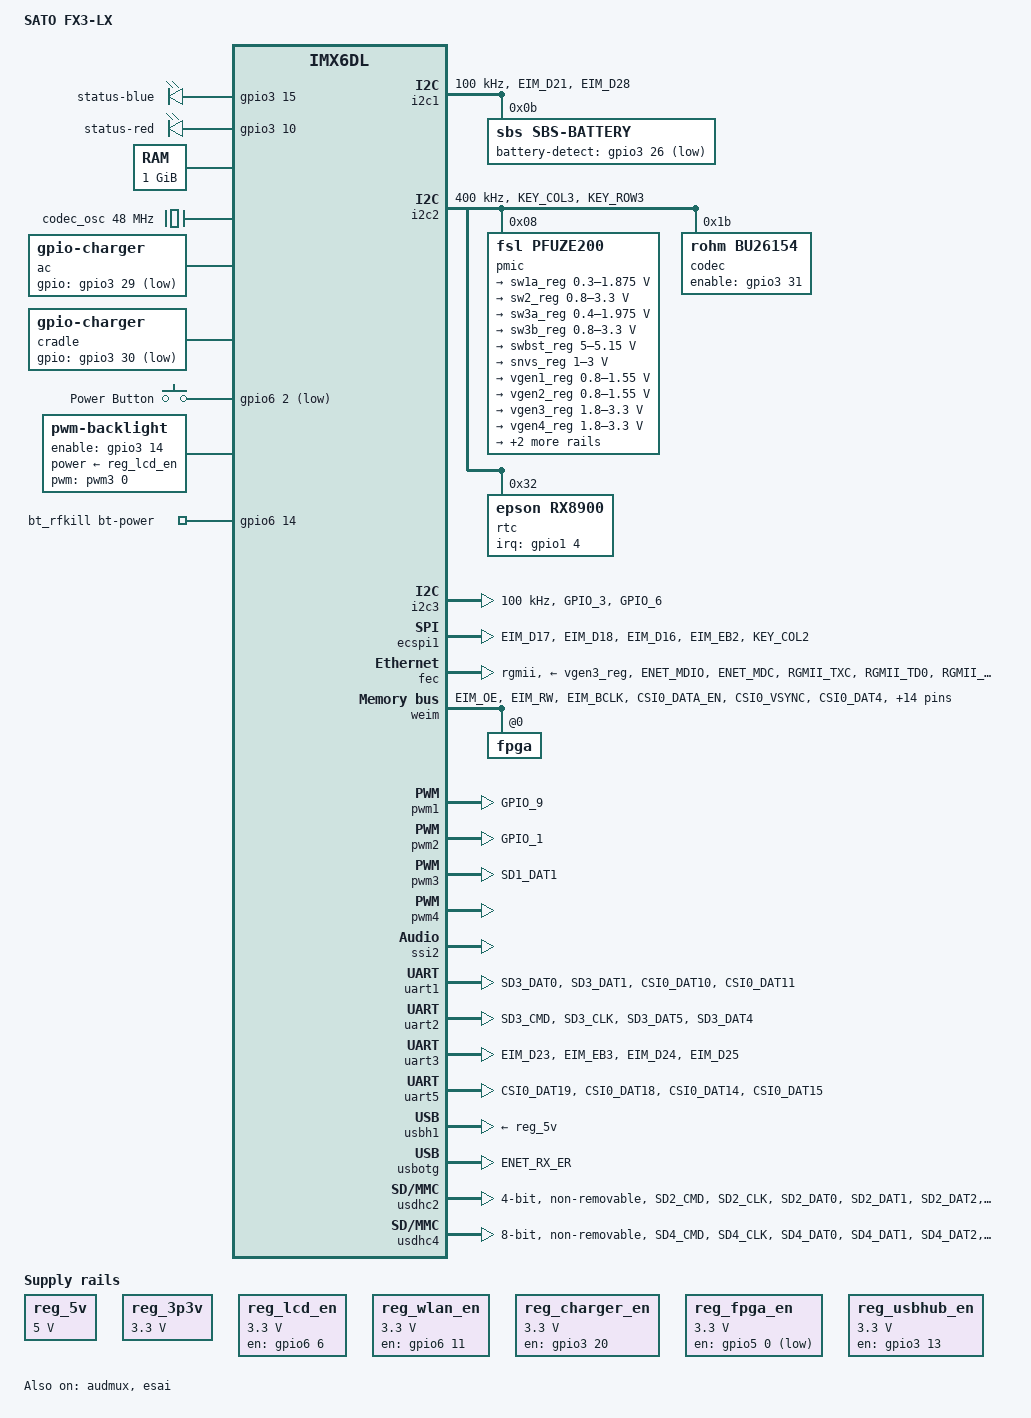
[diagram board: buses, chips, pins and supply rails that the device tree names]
/*
 * Copyright (C) 2013-2015 Freescale Semiconductor, Inc.
 * Copyright (C) 2018 SATO Corporation.
 *
 * This program is free software; you can redistribute it and/or modify
 * it under the terms of the GNU General Public License version 2 as
 * published by the Free Software Foundation.
 */

/dts-v1/;

#include <dt-bindings/gpio/gpio.h>
#include <dt-bindings/input/input.h>

#include "imx6dl.dtsi"

/ {
	model = "SATO FX3-LX";
	compatible = "sato,imx6dl-fx3lx", "fsl,imx6dl";

	aliases {
		mxcfb0 = &mxcfb1;
	};

	chosen {
		stdout-path = &uart1;
	};

	leds {
		compatible = "gpio-leds";
		pinctrl-names = "default";
		pinctrl-0 = <&pinctrl_leds>;

		status-blue {
			gpios = <&gpio3 15 GPIO_ACTIVE_HIGH>;
			default-state = "off";
		};

		status-red {
			gpios = <&gpio3 10 GPIO_ACTIVE_HIGH>;
			default-state = "off";
		};
	};

	memory: memory {
		reg = <0x10000000 0x40000000>;
	};

	clocks {
		codec_osc: fcx05-48m {
			compatible = "fixed-clock";
			#clock-cells = <0>;
			clock-frequency = <48000000>;
			clock-accuracy = <50000>;
		};
	};

	regulators {
		compatible = "simple-bus";
		#address-cells = <1>;
		#size-cells = <0>;

		reg_5v: fixedregulator@0 {
			compatible = "regulator-fixed";
			regulator-name = "fixed-5V";
			regulator-min-microvolt = <5000000>;
			regulator-max-microvolt = <5000000>;
			regulator-boot-on;
		};

		reg_3p3v: fixedregulator@1 {
			compatible = "regulator-fixed";
			regulator-name = "fixed-3.3V";
			regulator-min-microvolt = <3300000>;
			regulator-max-microvolt = <3300000>;
			regulator-boot-on;
			regulator-always-on;
		};

		reg_lcd_en: fixedregulator@2 {
			compatible = "regulator-fixed";
			regulator-name = "lcd-en-regulator";
			regulator-min-microvolt = <3300000>;
			regulator-max-microvolt = <3300000>;
			regulator-boot-on;
			regulator-always-on;
			pinctrl-names = "default";
			pinctrl-0 = <&pinctrl_lcd>;
			gpio = <&gpio6 6 GPIO_ACTIVE_HIGH>;
			enable-active-high;
		};

		reg_wlan_en: fixedregulator@3 {
			compatible = "regulator-fixed";
			regulator-name = "wlan-en-regulator";
			regulator-min-microvolt = <3300000>;
			regulator-max-microvolt = <3300000>;
			pinctrl-names = "default";
			pinctrl-0 = <&pinctrl_wlan>;
			gpio = <&gpio6 11 GPIO_ACTIVE_HIGH>;
			startup-delay-us = <70000>;
			enable-active-high;
		};

		reg_charger_en: fixedregulator@4 {
			compatible = "regulator-fixed";
			regulator-name = "charger-en-regulator";
			regulator-min-microvolt = <3300000>;
			regulator-max-microvolt = <3300000>;
			pinctrl-names = "default";
			pinctrl-0 = <&pinctrl_reg_charger>;
			gpio = <&gpio3 20 GPIO_ACTIVE_HIGH>;
			enable-active-high;
		};

		reg_fpga_en: fixedregulator@5 {
			compatible = "regulator-fixed";
			regulator-name = "fpga-en-regulator";
			regulator-min-microvolt = <3300000>;
			regulator-max-microvolt = <3300000>;
			regulator-boot-on;
			regulator-always-on;
			pinctrl-names = "default";
			pinctrl-0 = <&pinctrl_reg_fpga>;
			gpio = <&gpio5 0 GPIO_ACTIVE_LOW>;
		};

		reg_usbhub_en: fixedregulator@6 {
			compatible = "regulator-fixed";
			regulator-name = "usbhub-en-regulator";
			regulator-min-microvolt = <3300000>;
			regulator-max-microvolt = <3300000>;
			regulator-boot-on;
			regulator-always-on;
			pinctrl-names = "default";
			pinctrl-0 = <&pinctrl_reg_usbhub>;
			gpio = <&gpio3 13 GPIO_ACTIVE_HIGH>;
			startup-delay-us = <3000>;
			enable-active-high;
		};
	};

	ac: ac_charger {
		compatible = "gpio-charger";
		pinctrl-names = "default";
		pinctrl-0 = <&pinctrl_ac>;
		charger-type = "mains";
		gpios = <&gpio3 29 GPIO_ACTIVE_LOW>;
	};

	cradle: cradle_charger {
		compatible = "gpio-charger";
		pinctrl-names = "default";
		pinctrl-0 = <&pinctrl_cradle>;
		charger-type = "mains";
		gpios = <&gpio3 30 GPIO_ACTIVE_LOW>;
	};

	gpio-keys {
		compatible = "gpio-keys";
		pinctrl-names = "default";
		pinctrl-0 = <&pinctrl_gpio_keys>;

		power {
			label = "Power Button";
			gpios = <&gpio6 2 GPIO_ACTIVE_LOW>;
			wakeup-source;
			linux,code = <KEY_POWER>;
		};
	};

	sound {
		compatible = "fsl,imx-audio-bu26154";
		model = "bu26154-audio";
		audio-codec = <&codec>;
		ssi-controller = <&ssi2>;
		audio-routing =
			"Ext Spk", "SPKOUTL",
			"Ext Spk", "SPKOUTR";
		mux-int-port = <2>;
		mux-ext-port = <5>;
		codec-master;
	};

	mxcfb1: fb@0 {
		compatible = "fsl,mxc_sdc_fb";
		disp_dev = "lcd";
		interface_pix_fmt = "RGB24";
		mode_str ="SVF07-WVGA";
		default_bpp = <32>;
		int_clk = <0>;
		late_init = <0>;
		bypass_reset = <1>;
		status = "okay";
	};

	lcd@0 {
		compatible = "fsl,lcd";
		ipu_id = <0>;
		disp_id = <0>;
		default_ifmt = "RGB24";
		pinctrl-names = "default";
		pinctrl-0 = <&pinctrl_ipu1>;
		status = "okay";
	};

	backlight {
		compatible = "pwm-backlight";
		pinctrl-names = "default";
		pinctrl-0 = <&pinctrl_backlight>;
		pwms = <&pwm3 0 50000>;
		brightness-levels = <
			255 218 217 216 215 214 213 212 211 210
			209 208 207 206 205 204 203 202 201 200
			199 198 197 196 195 194 193 192 191 190
			189 188 187 186 185 184 183 182 181 180
			179 178 177 176 175 174 173 172 171 170
			169 168 167 166 165 164 163 162 161 160
			159 158 157 156 155 154 153 152 151 150
			149 148 147 146 145 144 143 142 141 140
			139 138 137 136 135 134 133 132 131 130
			129 128 127 126 125 124 123 122	121 120
			119 118 117 116 115 114 113 112 111 110
			109 108 107 106 105 104 103 102 101 100
			 99  98  97  96  95  94  93  92  91  90
			 89  88  87  86  85  84  83  82  81  80
			 79  78  77  76  75  74  73  72  71  70
			 69  68  65  66  65  64  63  62	 61  60
			 59  58  57  56  55  54  53  52  51  50
			 49  48  47  46  45  44  43  42  41  40
			 39  38  37  36  35  34  33  32  31  30
			 29  28  27  26	 25  24  23  22  21  20
			 19  18  17  16  15  14  13  12	 11  10
			  9   8   7   6   5   4   3   2   1   0
			>;
		default-brightness-level = <219>;
		enable-gpios = <&gpio3 14 0>;
		power-supply = <&reg_lcd_en>;
		status = "okay";
	};

	bt_rfkill {
		compatible = "fsl,mxc_bt_rfkill";
		pinctrl-names = "default";
		pinctrl-0 = <&pinctrl_bt>;
		bt-power-gpios = <&gpio6 14 0>;
		status ="okay";
	};
};

&i2c1 {
	pinctrl-names = "default";
	pinctrl-0 = <&pinctrl_i2c1>;
	status = "okay";
	clock-frequency = <100000>;

	sbs-battery@b {
		compatible = "sbs,sbs-battery";
		pinctrl-names = "default";
		pinctrl-0 = <&pinctrl_battery>;
		reg = <0xb>;
		sbs,i2c-retry-count = <2>;
		sbs,poll-retry-count = <10>;
		sbs,battery-detect-gpios = <&gpio3 26 GPIO_ACTIVE_LOW>;
		power-supplies = <&ac &cradle>;
	};
};

&i2c2 {
	pinctrl-names = "default";
	pinctrl-0 = <&pinctrl_i2c2>;
	status = "okay";
	clock-frequency = <400000>;

	pmic: pfuze100@08 {
		compatible = "fsl,pfuze200";
		reg = <0x08>;

		regulators {
			sw1a_reg: sw1ab {
				regulator-min-microvolt = <300000>;
				regulator-max-microvolt = <1875000>;
				regulator-always-on;
				regulator-ramp-delay = <6250>;
			};

			sw2_reg: sw2 {
				regulator-min-microvolt = <800000>;
				regulator-max-microvolt = <3300000>;
				regulator-always-on;
			};

			sw3a_reg: sw3a {
				regulator-min-microvolt = <400000>;
				regulator-max-microvolt = <1975000>;
				regulator-always-on;
			};

			sw3b_reg: sw3b {
				regulator-min-microvolt = <800000>;
				regulator-max-microvolt = <3300000>;
				regulator-always-on;
			};

			swbst_reg: swbst {
				regulator-min-microvolt = <5000000>;
				regulator-max-microvolt = <5150000>;
			};

			snvs_reg: vsnvs {
				regulator-min-microvolt = <1000000>;
				regulator-max-microvolt = <3000000>;
				regulator-always-on;
			};

			vref_reg: vrefddr {
				regulator-always-on;
			};

			vgen1_reg: vgen1 {
				regulator-min-microvolt = <800000>;
				regulator-max-microvolt = <1550000>;
			};

			vgen2_reg: vgen2 {
				regulator-min-microvolt = <800000>;
				regulator-max-microvolt = <1550000>;
			};

			vgen3_reg: vgen3 {
				regulator-min-microvolt = <1800000>;
				regulator-max-microvolt = <3300000>;
			};

			vgen4_reg: vgen4 {
				regulator-min-microvolt = <1800000>;
				regulator-max-microvolt = <3300000>;
				regulator-always-on;
			};

			vgen5_reg: vgen5 {
				regulator-min-microvolt = <1800000>;
				regulator-max-microvolt = <3300000>;
				regulator-always-on;
			};

			vgen6_reg: vgen6 {
				regulator-min-microvolt = <1800000>;
				regulator-max-microvolt = <3300000>;
				regulator-always-on;
			};
		};
	};

	codec: bu26154@1b {
		compatible = "rohm,bu26154";
		reg = <0x1b>;

		pinctrl-names = "default";
		pinctrl-0 = <&pinctrl_codec>;
		clocks = <&codec_osc 0>;
		enable-gpio = <&gpio3 31 0>;

		touchscreen {
			compatible = "rohm,bu26154-ts";
			pinctrl-names = "default";
			pinctrl-0 = <&pinctrl_ts>;
			rohm,pressure-min = <80>;
			rohm,pressure-max = <750>;
			rohm,event-period-time = <10>;
			rohm,absfuzz = <32>;
			rohm,penup-timeout = <500>;
			rohm,flip-x;
			touch-gpio = <&gpio1 0 0>;
			tvdd-supply = <&reg_3p3v>;
		};

		audiocodec {
			compatible = "rohm,bu26154-audio";
		};
	};

	rtc: rtc@32 {
		compatible = "epson,rx8900";
		reg = <0x32>;
		pinctrl-names = "default";
		pinctrl-0 = <&pinctrl_rtc>;
		interrupt-parent = <&gpio1>;
		interrupts = <4 IRQ_TYPE_LEVEL_LOW>;
	};
};

&i2c3 {
	clock-frequency = <100000>;
	pinctrl-names = "default";
	pinctrl-0 = <&pinctrl_i2c3>;
	status = "okay";
};

&audmux {
	pinctrl-names = "default";
	pinctrl-0 = <&pinctrl_audmux>;
	status = "okay";
};

&ecspi1 {
	pinctrl-names = "default";
	pinctrl-0 = <&pinctrl_ecspi1>;
	status = "okay";
	fsl,spi-num-chipselects = <2>;
};

&fec {
	pinctrl-names = "default";
	pinctrl-0 = <&pinctrl_enet>;
	phy-mode = "rgmii";
	phy-reset-gpios = <&gpio1 26 0>;
	phy-supply = <&vgen3_reg>;
	fsl,magic-packet;
	status = "okay";
};

&gpc {
	fsl,ldo-bypass = <1>;
};

&iomuxc {
	pinctrl-names = "default";
	pinctrl-0 = <&pinctrl_hog>;

	imx6dl-fx3lx {
		pinctrl_hog: hoggrp {
			fsl,pins = <
				MX6QDL_PAD_GPIO_8__GPIO1_IO08		0x1b0b0
				MX6QDL_PAD_SD1_CMD__GPIO1_IO18		0x1b0b0
				MX6QDL_PAD_SD1_DAT2__GPIO1_IO19		0x1b0b0
				MX6QDL_PAD_SD1_CLK__GPIO1_IO20		0x1b0b0
				MX6QDL_PAD_SD1_DAT3__GPIO1_IO21		0x1b0b0
				MX6QDL_PAD_ENET_RXD0__GPIO1_IO27	0x80000000
				MX6QDL_PAD_ENET_TX_EN__GPIO1_IO28	0x1b0b0
				MX6QDL_PAD_ENET_TXD1__GPIO1_IO29	0x80000000
				MX6QDL_PAD_NANDF_D0__GPIO2_IO00		0x1b0b0
				MX6QDL_PAD_NANDF_D1__GPIO2_IO01		0x80000000
				MX6QDL_PAD_NANDF_D2__GPIO2_IO02		0x80000000
				MX6QDL_PAD_NANDF_D3__GPIO2_IO03		0x1b0b0
				MX6QDL_PAD_NANDF_D4__GPIO2_IO04		0x1b0b0
				MX6QDL_PAD_NANDF_D5__GPIO2_IO05		0x80000000
				MX6QDL_PAD_NANDF_D6__GPIO2_IO06		0x1b0b0
				MX6QDL_PAD_NANDF_D7__GPIO2_IO07		0x1b0b0
				MX6QDL_PAD_EIM_A22__GPIO2_IO16		0x80000000
				MX6QDL_PAD_EIM_A21__GPIO2_IO17		0x80000000
				MX6QDL_PAD_EIM_A20__GPIO2_IO18		0x80000000
				MX6QDL_PAD_EIM_A19__GPIO2_IO19		0x80000000
				MX6QDL_PAD_EIM_A18__GPIO2_IO20		0x80000000
				MX6QDL_PAD_EIM_A17__GPIO2_IO21		0x80000000
				MX6QDL_PAD_EIM_A16__GPIO2_IO22		0x80000000
				MX6QDL_PAD_EIM_LBA__GPIO2_IO27		0x1b0b0
				MX6QDL_PAD_EIM_EB0__GPIO2_IO28		0x80000000
				MX6QDL_PAD_EIM_EB1__GPIO2_IO29		0x80000000
				MX6QDL_PAD_EIM_DA8__GPIO3_IO08		0x80000000
				MX6QDL_PAD_EIM_DA9__GPIO3_IO09		0x80000000
				MX6QDL_PAD_EIM_DA11__GPIO3_IO11		0x80000000
				MX6QDL_PAD_EIM_DA12__GPIO3_IO12		0x80000000
				MX6QDL_PAD_EIM_D22__GPIO3_IO22		0x80000000
				MX6QDL_PAD_EIM_D27__GPIO3_IO27		0x1b0b0
				MX6QDL_PAD_GPIO_19__GPIO4_IO05		0x1b0b0
				MX6QDL_PAD_KEY_ROW2__GPIO4_IO11		0x1b0b0
				MX6QDL_PAD_KEY_COL4__GPIO4_IO14		0x1b0b0
				MX6QDL_PAD_KEY_ROW4__GPIO4_IO15		0x80000000
				MX6QDL_PAD_DI0_PIN15__GPIO4_IO17	0x1b0b0
				MX6QDL_PAD_DI0_PIN4__GPIO4_IO20		0x1b0b0
				MX6QDL_PAD_EIM_A25__GPIO5_IO02		0x1b0b0
				MX6QDL_PAD_EIM_A24__GPIO5_IO04		0x80000000
				MX6QDL_PAD_CSI0_PIXCLK__GPIO5_IO18	0x80000000
				MX6QDL_PAD_CSI0_MCLK__GPIO5_IO19	0x1b0b0
				MX6QDL_PAD_CSI0_DAT12__GPIO5_IO30	0x80000000
				MX6QDL_PAD_CSI0_DAT13__GPIO5_IO31	0x80000000
				MX6QDL_PAD_CSI0_DAT17__GPIO6_IO03	0x1b0b0
				MX6QDL_PAD_NANDF_CLE__GPIO6_IO07	0x80000000
				MX6QDL_PAD_NANDF_ALE__GPIO6_IO08	0x1b0b0
				MX6QDL_PAD_NANDF_WP_B__GPIO6_IO09	0x1b0b0
				MX6QDL_PAD_NANDF_RB0__GPIO6_IO10	0x1b0b0
				MX6QDL_PAD_NANDF_CS2__GPIO6_IO15	0x1b0b0
				MX6QDL_PAD_SD3_DAT7__GPIO6_IO17		0x80000000
				MX6QDL_PAD_SD3_DAT6__GPIO6_IO18		0x1b0b0
				MX6QDL_PAD_SD3_DAT2__GPIO7_IO06		0x1b0b0
				MX6QDL_PAD_SD3_DAT3__GPIO7_IO07		0x1b0b0
				MX6QDL_PAD_SD3_RST__GPIO7_IO08		0x1b0b0
				MX6QDL_PAD_GPIO_18__GPIO7_IO13		0x1b0b0
			>;
		};

		pinctrl_ipu1: ipu1grp {
			fsl,pins = <
				MX6QDL_PAD_DI0_DISP_CLK__IPU1_DI0_DISP_CLK	0x10
				MX6QDL_PAD_DI0_PIN2__IPU1_DI0_PIN02		0x80000000
				MX6QDL_PAD_DI0_PIN3__IPU1_DI0_PIN03		0x80000000
				MX6QDL_PAD_DISP0_DAT0__IPU1_DISP0_DATA00	0x10
				MX6QDL_PAD_DISP0_DAT1__IPU1_DISP0_DATA01	0x10
				MX6QDL_PAD_DISP0_DAT2__IPU1_DISP0_DATA02	0x10
				MX6QDL_PAD_DISP0_DAT3__IPU1_DISP0_DATA03	0x10
				MX6QDL_PAD_DISP0_DAT4__IPU1_DISP0_DATA04	0x10
				MX6QDL_PAD_DISP0_DAT5__IPU1_DISP0_DATA05	0x10
				MX6QDL_PAD_DISP0_DAT6__IPU1_DISP0_DATA06	0x10
				MX6QDL_PAD_DISP0_DAT7__IPU1_DISP0_DATA07	0x10
				MX6QDL_PAD_DISP0_DAT8__IPU1_DISP0_DATA08	0x10
				MX6QDL_PAD_DISP0_DAT9__IPU1_DISP0_DATA09	0x10
				MX6QDL_PAD_DISP0_DAT10__IPU1_DISP0_DATA10	0x10
				MX6QDL_PAD_DISP0_DAT11__IPU1_DISP0_DATA11	0x10
				MX6QDL_PAD_DISP0_DAT12__IPU1_DISP0_DATA12	0x10
				MX6QDL_PAD_DISP0_DAT13__IPU1_DISP0_DATA13	0x10
				MX6QDL_PAD_DISP0_DAT14__IPU1_DISP0_DATA14	0x10
				MX6QDL_PAD_DISP0_DAT15__IPU1_DISP0_DATA15	0x10
				MX6QDL_PAD_DISP0_DAT16__IPU1_DISP0_DATA16	0x10
				MX6QDL_PAD_DISP0_DAT17__IPU1_DISP0_DATA17	0x10
				MX6QDL_PAD_DISP0_DAT18__IPU1_DISP0_DATA18	0x10
				MX6QDL_PAD_DISP0_DAT19__IPU1_DISP0_DATA19	0x10
				MX6QDL_PAD_DISP0_DAT20__IPU1_DISP0_DATA20	0x10
				MX6QDL_PAD_DISP0_DAT21__IPU1_DISP0_DATA21	0x10
				MX6QDL_PAD_DISP0_DAT22__IPU1_DISP0_DATA22	0x10
				MX6QDL_PAD_DISP0_DAT23__IPU1_DISP0_DATA23	0x10
			>;
		};

		pinctrl_enet: enetgrp {
			fsl,pins = <
				MX6QDL_PAD_ENET_MDIO__ENET_MDIO		0x1b0b0
				MX6QDL_PAD_ENET_MDC__ENET_MDC		0x1b0b0
				MX6QDL_PAD_RGMII_TXC__RGMII_TXC		0x1b0b0
				MX6QDL_PAD_RGMII_TD0__RGMII_TD0		0x1b0b0
				MX6QDL_PAD_RGMII_TD1__RGMII_TD1		0x1b0b0
				MX6QDL_PAD_RGMII_TD2__RGMII_TD2		0x1b0b0
				MX6QDL_PAD_RGMII_TD3__RGMII_TD3		0x1b0b0
				MX6QDL_PAD_RGMII_TX_CTL__RGMII_TX_CTL	0x1b0b0
				MX6QDL_PAD_ENET_REF_CLK__ENET_TX_CLK	0x1b0b0
				MX6QDL_PAD_RGMII_RXC__RGMII_RXC		0x1b0b0
				MX6QDL_PAD_RGMII_RD0__RGMII_RD0		0x1b0b0
				MX6QDL_PAD_RGMII_RD1__RGMII_RD1		0x1b0b0
				MX6QDL_PAD_RGMII_RD2__RGMII_RD2		0x1b0b0
				MX6QDL_PAD_RGMII_RD3__RGMII_RD3		0x1b0b0
				MX6QDL_PAD_RGMII_RX_CTL__RGMII_RX_CTL	0x1b0b0
				MX6QDL_PAD_ENET_RXD1__GPIO1_IO26	0x80000000
			>;
		};

		pinctrl_usbotg: usbotggrp {
			fsl,pins = <
				MX6QDL_PAD_ENET_RX_ER__USB_OTG_ID	0x17059
			>;
		};

		pinctrl_weim_cs0: weimcs0grp {
			fsl,pins = <
				MX6QDL_PAD_EIM_CS0__EIM_CS0_B		0x80000000
			>;
		};

		pinctrl_weim_fpga: weimfpgagrp {
			fsl,pins = <
				MX6QDL_PAD_EIM_OE__EIM_OE_B		0x130b1
				MX6QDL_PAD_EIM_RW__EIM_RW		0x130b1
				MX6QDL_PAD_EIM_BCLK__EIM_BCLK		0x130b1
				MX6QDL_PAD_CSI0_DATA_EN__EIM_DATA00	0x130b1
				MX6QDL_PAD_CSI0_VSYNC__EIM_DATA01	0x130b1
				MX6QDL_PAD_CSI0_DAT4__EIM_DATA02	0x130b1
				MX6QDL_PAD_CSI0_DAT5__EIM_DATA03	0x130b1
				MX6QDL_PAD_CSI0_DAT6__EIM_DATA04	0x130b1
				MX6QDL_PAD_CSI0_DAT7__EIM_DATA05	0x130b1
				MX6QDL_PAD_CSI0_DAT8__EIM_DATA06	0x130b1
				MX6QDL_PAD_CSI0_DAT9__EIM_DATA07	0x130b1
				MX6QDL_PAD_EIM_DA0__EIM_AD00		0x130b1
				MX6QDL_PAD_EIM_DA1__EIM_AD01		0x130b1
				MX6QDL_PAD_EIM_DA2__EIM_AD02		0x130b1
				MX6QDL_PAD_EIM_DA3__EIM_AD03		0x130b1
				MX6QDL_PAD_EIM_DA4__EIM_AD04		0x130b1
				MX6QDL_PAD_EIM_DA5__EIM_AD05		0x130b1
				MX6QDL_PAD_EIM_DA6__EIM_AD06		0x130b1
				MX6QDL_PAD_EIM_DA7__EIM_AD07		0x130b1
			>;
		};

		pinctrl_reg_fpga: regfpgagrp {
			fsl,pins = <
				MX6QDL_PAD_EIM_WAIT__GPIO5_IO00		0x80000000
			>;
		};

		pinctrl_fpga: fpgagrp {
			fsl,pins = <
				MX6QDL_PAD_GPIO_7__GPIO1_IO07		0x1b0b0
			>;
		};

		pinctrl_audmux: audmuxgrp {
			fsl,pins = <
				MX6QDL_PAD_KEY_ROW1__AUD5_RXD		0x130b0
				MX6QDL_PAD_KEY_COL0__AUD5_TXC		0x130b0
				MX6QDL_PAD_KEY_ROW0__AUD5_TXD		0x110b0
				MX6QDL_PAD_KEY_COL1__AUD5_TXFS		0x130b0
			>;
		};

		pinctrl_pwm1: pwm1grp {
			fsl,pins = <
				MX6QDL_PAD_GPIO_9__PWM1_OUT		0x1b0b1
			>;
		};

		pinctrl_pwm2: pwm2grp {
			fsl,pins = <
				MX6QDL_PAD_GPIO_1__PWM2_OUT		0x1b0b1
			>;
		};

		pinctrl_pwm3: pwm3grp {
			fsl,pins = <
				MX6QDL_PAD_SD1_DAT1__PWM3_OUT		0x1b0b1
			>;
		};

		pinctrl_uart1: uart1grp {
			fsl,pins = <
				MX6QDL_PAD_SD3_DAT0__UART1_CTS_B	0x1b0b1
				MX6QDL_PAD_SD3_DAT1__UART1_RTS_B	0x1b0b1
				MX6QDL_PAD_CSI0_DAT10__UART1_TX_DATA	0x1b0b1
				MX6QDL_PAD_CSI0_DAT11__UART1_RX_DATA	0x1b0b1
			>;
		};

		pinctrl_uart2: uart2grp {
			fsl,pins = <
				MX6QDL_PAD_SD3_CMD__UART2_CTS_B		0x1b0b1
				MX6QDL_PAD_SD3_CLK__UART2_RTS_B		0x1b0b1
				MX6QDL_PAD_SD3_DAT5__UART2_TX_DATA	0x1b0b1
				MX6QDL_PAD_SD3_DAT4__UART2_RX_DATA	0x1b0b1
			>;
		};

		pinctrl_uart3: uart3grp {
			fsl,pins = <
				MX6QDL_PAD_EIM_D23__UART3_CTS_B		0x1b0b1
				MX6QDL_PAD_EIM_EB3__UART3_RTS_B		0x1b0b1
				MX6QDL_PAD_EIM_D24__UART3_TX_DATA	0x1b0b1
				MX6QDL_PAD_EIM_D25__UART3_RX_DATA	0x1b0b1
			>;
		};

		pinctrl_uart5: uart5grp {
			fsl,pins = <
				MX6QDL_PAD_CSI0_DAT19__UART5_CTS_B	0x1b0b1
				MX6QDL_PAD_CSI0_DAT18__UART5_RTS_B	0x1b0b1
				MX6QDL_PAD_CSI0_DAT14__UART5_TX_DATA	0x1b0b1
				MX6QDL_PAD_CSI0_DAT15__UART5_RX_DATA	0x1b0b1
			>;
		};

		pinctrl_i2c1: i2c1grp {
			fsl,pins = <
				MX6QDL_PAD_EIM_D21__I2C1_SCL		0x4001b8b1
				MX6QDL_PAD_EIM_D28__I2C1_SDA		0x4001b8b1
			>;
		};

		pinctrl_i2c2: i2c2grp {
			fsl,pins = <
				MX6QDL_PAD_KEY_COL3__I2C2_SCL		0x4001b8b1
				MX6QDL_PAD_KEY_ROW3__I2C2_SDA		0x4001b8b1
			>;
		};

		pinctrl_i2c3: i2c3grp {
			fsl,pins = <
				MX6QDL_PAD_GPIO_3__I2C3_SCL		0x4001b8b1
				MX6QDL_PAD_GPIO_6__I2C3_SDA		0x4001b8b1
			>;
		};

		pinctrl_esai: esaigrp {
			fsl,pins = <
				MX6QDL_PAD_ENET_CRS_DV__ESAI_TX_CLK	0x1b030
				MX6QDL_PAD_GPIO_2__ESAI_TX_FS		0x1b030
				MX6QDL_PAD_GPIO_17__ESAI_TX0		0x1b030
				MX6QDL_PAD_NANDF_CS3__ESAI_TX1		0x1b030
				MX6QDL_PAD_GPIO_16__ESAI_TX3_RX2	0x1b030
				MX6QDL_PAD_GPIO_5__ESAI_TX2_RX3		0x1b030
			>;
		};

		pinctrl_ecspi1: ecspi1grp {
			fsl,pins = <
				MX6QDL_PAD_EIM_D17__ECSPI1_MISO		0x100b1
				MX6QDL_PAD_EIM_D18__ECSPI1_MOSI		0x100b1
				MX6QDL_PAD_EIM_D16__ECSPI1_SCLK		0x100b1
				MX6QDL_PAD_EIM_EB2__ECSPI1_SS0		0x80000000
				MX6QDL_PAD_KEY_COL2__ECSPI1_SS1		0x80000000
			>;
		};

		pinctrl_backlight: backlight_en_gpio {
			fsl,pins = <
				MX6QDL_PAD_EIM_DA14__GPIO3_IO14		0x80000000
			>;
		};

		pinctrl_lcd: lcd_en_gpio {
			fsl,pins = <
				MX6QDL_PAD_EIM_A23__GPIO6_IO06		0x80000000
			>;
		};

		pinctrl_leds: leds_gpio {
			fsl,pins = <
				MX6QDL_PAD_EIM_DA10__GPIO3_IO10		0x80000000
				MX6QDL_PAD_EIM_DA15__GPIO3_IO15		0x80000000
			>;
		};

		pinctrl_gpio_keys: gpio_keysgrp {
			fsl,pins = <
				MX6QDL_PAD_CSI0_DAT16__GPIO6_IO02	0x80000000
			>;
		};

		pinctrl_codec: codec_en_gpio {
			fsl,pins = <
				MX6QDL_PAD_EIM_D31__GPIO3_IO31		0x80000000
			>;
		};

		pinctrl_ts: tsgrp {
			fsl,pins = <
				MX6QDL_PAD_GPIO_0__GPIO1_IO00		0x1b0b0
			>;
		};

		pinctrl_wlan: wlangrp {
			fsl,pins = <
				MX6QDL_PAD_NANDF_CS0__GPIO6_IO11	0x80000000
			>;
		};

		pinctrl_rtc: rtcgrp {
			fsl,pins = <
				MX6QDL_PAD_GPIO_4__GPIO1_IO04		0x1b0b0
			>;
		};

		pinctrl_usdhc2: usdhc2grp {
			fsl,pins = <
				MX6QDL_PAD_SD2_CMD__SD2_CMD		0x17059
				MX6QDL_PAD_SD2_CLK__SD2_CLK		0x10059
				MX6QDL_PAD_SD2_DAT0__SD2_DATA0		0x17059
				MX6QDL_PAD_SD2_DAT1__SD2_DATA1		0x17059
				MX6QDL_PAD_SD2_DAT2__SD2_DATA2		0x17059
				MX6QDL_PAD_SD2_DAT3__SD2_DATA3		0x17059
			>;
		};

		pinctrl_reg_usbhub: regusbhubgrp {
			fsl,pins = <
				MX6QDL_PAD_ENET_TXD0__GPIO1_IO30	0x80000000
				MX6QDL_PAD_EIM_DA13__GPIO3_IO13		0x80000000
			>;
		};

		pinctrl_usdhc4: usdhc4grp {
			fsl,pins = <
				MX6QDL_PAD_SD4_CMD__SD4_CMD		0x17059
				MX6QDL_PAD_SD4_CLK__SD4_CLK		0x10059
				MX6QDL_PAD_SD4_DAT0__SD4_DATA0		0x17059
				MX6QDL_PAD_SD4_DAT1__SD4_DATA1		0x17059
				MX6QDL_PAD_SD4_DAT2__SD4_DATA2		0x17059
				MX6QDL_PAD_SD4_DAT3__SD4_DATA3		0x17059
				MX6QDL_PAD_SD4_DAT4__SD4_DATA4		0x17059
				MX6QDL_PAD_SD4_DAT5__SD4_DATA5		0x17059
				MX6QDL_PAD_SD4_DAT6__SD4_DATA6		0x17059
				MX6QDL_PAD_SD4_DAT7__SD4_DATA7		0x17059
			>;
		};

		pinctrl_bt: bluetoothgrp {
			fsl,pins = <
				MX6QDL_PAD_NANDF_CS1__GPIO6_IO14	0x80000000
			>;
		};

		pinctrl_reg_charger: chargergrp {
			fsl,pins = <
				MX6QDL_PAD_EIM_D20__GPIO3_IO20		0x80000000
			>;
		};

		pinctrl_ac: acchargergrp {
			fsl,pins = <
				MX6QDL_PAD_EIM_D29__GPIO3_IO29		0x1b0b0
			>;
		};

		pinctrl_cradle: cradlechargergrp {
			fsl,pins = <
				MX6QDL_PAD_EIM_D30__GPIO3_IO30		0x1b0b0
			>;
		};

		pinctrl_battery: batterygrp {
			fsl,pins = <
				MX6QDL_PAD_EIM_D26__GPIO3_IO26		0x1b0b0
			>;
		};
	};
};

&weim {
	pinctrl-names = "default";
	pinctrl-0 = <&pinctrl_weim_fpga &pinctrl_weim_cs0>;
	fsl,weim-cs-gpr = <&gpr>;
	#address-cells = <2>;
	#size-cells = <1>;
	ranges = <0 0 0x08000000 0x08000000>;
	status = "okay";

	fpga@0,0 {
		reg = <0 0 0x00000040>;
		pinctrl-names = "default";
		pinctrl-0 = <&pinctrl_fpga>;
		fsl,weim-cs-timing = <0x41740001 0x00000000 0x0c002211
				0x00000000 0x0c000489 0x00000000>;
	};
};

&pwm1 {
	pinctrl-names = "default";
	pinctrl-0 = <&pinctrl_pwm1>;
	status = "okay";
};

&pwm2 {
	pinctrl-names = "default";
	pinctrl-0 = <&pinctrl_pwm2>;
	status = "okay";
};

&pwm3 {
	pinctrl-names = "default";
	pinctrl-0 = <&pinctrl_pwm3>;
	status = "okay";
};

&pwm4 {
	status = "okay";
};

&reg_arm {
	vin-supply = <&sw1a_reg>;
};

&reg_pu {
	vin-supply = <&sw1a_reg>;
};

&reg_soc {
	vin-supply = <&sw1a_reg>;
};

&ssi2 {
	assigned-clocks = <&clks IMX6QDL_CLK_PLL4>,
			  <&clks IMX6QDL_PLL4_BYPASS>,
			  <&clks IMX6QDL_CLK_SSI2_SEL>;
	assigned-clock-parents = <&clks IMX6QDL_CLK_OSC>,
				 <&clks IMX6QDL_CLK_PLL4>,
				 <&clks IMX6QDL_CLK_PLL4_AUDIO_DIV>;
	assigned-clock-rates = <1179648000>, <0>, <0>;
	status = "okay";
};

&uart1 {
	pinctrl-names = "default";
	pinctrl-0 = <&pinctrl_uart1>;
	status = "okay";
};

&uart2 {
	pinctrl-names = "default";
	pinctrl-0 = <&pinctrl_uart2>;
	fsl,uart-has-rtscts;
	status = "okay";
};

&uart3 {
	pinctrl-names = "default";
	pinctrl-0 = <&pinctrl_uart3>;
	status = "okay";
};

&uart5 {
	pinctrl-names = "default";
	pinctrl-0 = <&pinctrl_uart5>;
	fsl,uart-has-rtscts;
	status = "okay";
};

&esai {
	pinctrl-names = "default";
	pinctrl-0 = <&pinctrl_esai>;
	status = "okay";
};

&usbh1 {
	vbus-supply = <&reg_5v>;
	status = "okay";
};

&usbotg {
	/* NOTE: It cannot act as host because of lacking the vbus-supply */
	pinctrl-names = "default";
	pinctrl-0 = <&pinctrl_usbotg>;
	disable-over-current;
	srp-disable;
	hnp-disable;
	adp-disable;
	status = "okay";
};

&usbphy1 {
	tx-d-cal = <0x5>;
};

&usbphy2 {
	tx-d-cal = <0x5>;
};

&usdhc2 {
	pinctrl-names = "default";
	pinctrl-0 = <&pinctrl_usdhc2>;
	bus-width = <4>;
	no-1-8-v;
	pm-ignore-notify;
	keep-power-in-suspend;
	/*cap-power-off-card;*/
	enable-sdio-wakeup;
	non-removable;
	/*cd-post;*/
	status = "okay";
};

&usdhc4 {
	pinctrl-names = "default";
	pinctrl-0 = <&pinctrl_usdhc4>;
	bus-width = <8>;
	non-removable;
	no-1-8-v;
	keep-power-in-suspend;
	status = "okay";
};

&crypto {
	status = "disabled";
};
